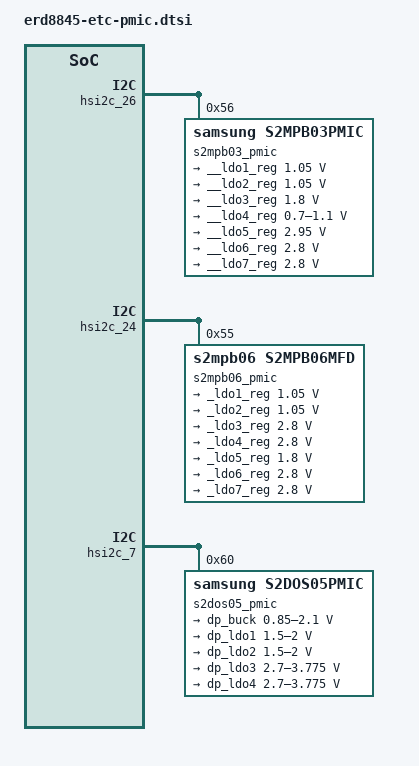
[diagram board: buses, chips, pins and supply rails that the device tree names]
/*
 * SAMSUNG S5E8845 Display, Camera PMIC device tree source
 *
 * Copyright (c) 2023 Samsung Electronics Co., Ltd.
 *             http://www.samsung.com
 *
 * SAMSUNG S5E9945 Display, Camera PMIC device nodes are listed in this file.
 * EXYNOS based board files can include this file and provide
 * values for board specfic bindings.
 *
 * This program is free software; you can redistribute it and/or modify
 * it under the terms of the GNU General Public License version 2 as
 * published by the Free Software Foundation.
 */

&pinctrl_0 {
	camera_pmic_irq: camera-pmic-irq {
		samsung,pins = "gpc6-0";
		samsung,pin-function = <0>;
		samsung,pin-pud = <0>;
		samsung,pin-drv = <0>;
	};

	dp_pmic_irq: dp-pmic-irq {
		samsung,pins = "gpa0-4";
		samsung,pin-function = <0>;
		samsung,pin-pud = <0>;
		samsung,pin-drv = <0>;
	};
};

&hsi2c7_bus {
	samsung,pin-pud = <3>;
};

&hsi2c_26 {
	#address-cells = <1>;
	#size-cells = <0>;
	status = "okay";
	s2mpb03_pmic@56 {
		compatible = "samsung,s2mpb03pmic";
		reg = <0x56>;

		s2mpb03,wakeup;

		regulators {
			__ldo1_reg: s2mpb03-ldo1 {
				regulator-name = "VDDD_1.05V_SUB";
				regulator-min-microvolt = <1050000>;
				regulator-max-microvolt = <1050000>;
			};

			__ldo2_reg: s2mpb03-ldo2 {
				regulator-name = "VDDD_1.05V_SUB2";
				regulator-min-microvolt = <1050000>;
				regulator-max-microvolt = <1050000>;
			};

			__ldo3_reg: s2mpb03-ldo3 {
				regulator-name = "VDDIO_1.8V_CAM";
				regulator-min-microvolt = <1800000>;
				regulator-max-microvolt = <1800000>;
			};

			__ldo4_reg: s2mpb03-ldo4 {
				regulator-name = "S2MPB03_LD04";
				regulator-min-microvolt = <700000>;
				regulator-max-microvolt = <1100000>;
			};

			__ldo5_reg: s2mpb03-ldo5 {
				regulator-name = "VDDA_2.95V_CAM";
				regulator-min-microvolt = <2950000>;
				regulator-max-microvolt = <2950000>;
			};

			__ldo6_reg: s2mpb03-ldo6 {
				regulator-name = "VDDA_2.8V_VT";
				regulator-min-microvolt = <2800000>;
				regulator-max-microvolt = <2800000>;
			};

			__ldo7_reg: s2mpb03-ldo7 {
				regulator-name = "VDD_VM_2.8V_OIS";
				regulator-min-microvolt = <2800000>;
				regulator-max-microvolt = <2800000>;
			};
		};
	};
};

&hsi2c_24 {
	#address-cells = <3>;
	#size-cells = <0>;
	status = "okay";
	s2mpb06_pmic@55 {
		compatible = "s2mpb06,s2mpb06mfd";
		reg = <0x55 0x0 0x10>;

		s2mpb06,wakeup;
		pinctrl-names = "default";
		pinctrl-0 = <&camera_pmic_irq>;

		regulators {
			_ldo1_reg: s2mpb06-ldo1 {
				regulator-name = "VDDD_1.05V_TELECAM";
				regulator-min-microvolt = <1050000>;
				regulator-max-microvolt = <1050000>;
			};

			_ldo2_reg: s2mpb06-ldo2 {
				regulator-name = "VDDD_1.05V_UWCAM";
				regulator-min-microvolt = <1050000>;
				regulator-max-microvolt = <1050000>;
			};

			_ldo3_reg: s2mpb06-ldo3 {
				regulator-name = "VDDA_2.8V_TELECAM";
				regulator-min-microvolt = <2800000>;
				regulator-max-microvolt = <2800000>;
			};

			_ldo4_reg: s2mpb06-ldo4 {
				regulator-name = "VDDA_2.8V_UWCAM";
				regulator-min-microvolt = <2800000>;
				regulator-max-microvolt = <2800000>;
			};

			_ldo5_reg: s2mpb06-ldo5 {
				regulator-name = "VDDIO_1.8V_CAMIO";
				regulator-min-microvolt = <1800000>;
				regulator-max-microvolt = <1800000>;
			};

			_ldo6_reg: s2mpb06-ldo6 {
				regulator-name = "VDDOIS_2.8V_TELECAM";
				regulator-min-microvolt = <2800000>;
				regulator-max-microvolt = <2800000>;
			};

			_ldo7_reg: s2mpb06-ldo7 {
				regulator-name = "VDDAF_2.8V_TELECAM";
				regulator-min-microvolt = <2800000>;
				regulator-max-microvolt = <2800000>;
			};
		};
	};
};

&hsi2c_7 {
	#address-cells = <1>;
	#size-cells = <0>;
	status = "okay";
	s2dos05_pmic@60 {
		compatible = "samsung,s2dos05pmic";
		reg = <0x60>;
		s2dos05,wakeup;
		pinctrl-names = "default";
		pinctrl-0 = <&dp_pmic_irq>;
		s2dos05,s2dos05_int = <&gpa0 4 0>;
		adc_mode = <1>; /* 0 : disable, 1 : current meter, 2 : power meter */
		adc_sync_mode = <2>; /* 1 : sync mode, 2 : async mode */
		regulators {
			dp_buck: s2dos05-buck1 {
				regulator-name = "vdd1";
				regulator-min-microvolt = <850000>;
				regulator-max-microvolt = <2100000>;
				regulator-boot-on;
			};
			dp_ldo1: s2dos05-ldo1 {
				regulator-name = "vdd2";
				regulator-min-microvolt = <1500000>;
				regulator-max-microvolt = <2000000>;
				regulator-boot-on;
			};
			dp_ldo2: s2dos05-ldo2 {
				regulator-name = "vdd3";
				regulator-min-microvolt = <1500000>;
				regulator-max-microvolt = <2000000>;
			};
			dp_ldo3: s2dos05-ldo3{
				regulator-name = "vdd4";
				regulator-min-microvolt = <2700000>;
				regulator-max-microvolt = <3775000>;
			};
			dp_ldo4: s2dos05-ldo4{
				regulator-name = "vdd5";
				regulator-min-microvolt = <2700000>;
				regulator-max-microvolt = <3775000>;
				regulator-boot-on;
			};
		};
	};
};
